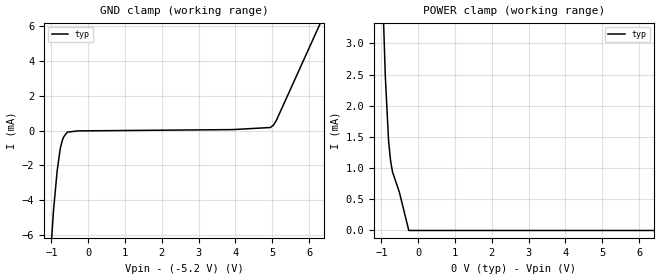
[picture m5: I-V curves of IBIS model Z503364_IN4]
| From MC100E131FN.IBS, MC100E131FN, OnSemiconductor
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| (C) COPYRIGHT 1993-2000
| MENTOR GRAPHICS CORPORATION
| ICX STANDARD LIBRARY, ICX PROJECT MODELING,
| ICX CUSTOM MODELING, ICX VENDOR MODEL
| ALL RIGHTS RESERVED.
| THE FOLLOWING ARE TRADEMARKS OR SERVICE MARKS OF
| MENTOR GRAPHICS CORPORATION:ICX (R), ICX STANDARD
| LIBRARY(R), ICX PROJECT MODELING(R), ICX CUSTOM
| MODELING(R), qualityIBIS(TM), MODELVIEWER(TM),
| AND MODELEDITOR(TM)
| ALL COPIES OF SOFTWARE, INCLUDING BUT NOT LIMITED TO
| ANY MODIFICATIONS, ENHANCEMENTS OR DERIVATIVE WORKS,
| MUST CONTAIN ALL MENTOR GRAPHICS CORPORATION'S
| NOTICES AND LEGENDS, INCLUDING THOSE EMBEDDED IN
| SOFTWARE AND THOSE AFFIXED TO SOFTWARE MEDIUM
| AND CONTAINER, AS RECEIVED FROM MENTOR GRAPHICS
| CORPORATION.
| Model Application Version 1.89 2/18/99.
[Model] Z503364_IN4
Model_type Input_ECL
Vinl = -1.475V
Vinh = -1.165V
C_comp 4.000pF NA NA
| variable typ   min   max
[Voltage Range] -5.200V NA NA
[GND Clamp Reference] -5.200V NA NA
[POWER Clamp Reference] 0.000V NA NA
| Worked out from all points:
|   GND clamp passes 1 mA (typ) near -0.76 V on its own axis
|   POWER clamp passes 1 mA (typ) near -0.72 V on its own axis
[GND Clamp]
-5.2V     -226.7mA   NA         NA
-1.108V   -9.798mA   NA         NA
-942mV    -4.581mA   NA         NA
-844mV    -2.328mA   NA         NA
-758mV    -1.023mA   NA         NA
-701mV    -548.9uA   NA         NA
-664mV    -360.4uA   NA         NA
-568mV    -92.81uA   NA         NA
3.916V    52.95uA    NA         NA
4.951V    172.4uA    NA         NA
5.108V    559.7uA    NA         NA
10.4V     25.27mA    NA         NA
[POWER Clamp]
-5.2V     145.7mA    NA         NA
-2.167V   31.87mA    NA         NA
-1.836V   22.86mA    NA         NA
-1.387V   12.46mA    NA         NA
-1.055V   5.433mA    NA         NA
-892.8mV  2.467mA    NA         NA
-804.8mV  1.441mA    NA         NA
-752mV    1.126mA    NA         NA
-698.2mV  939.8uA    NA         NA
-511.2mV  613.1uA    NA         NA
-255.6mV  0A         NA         NA
10.4V     0A         NA         NA
